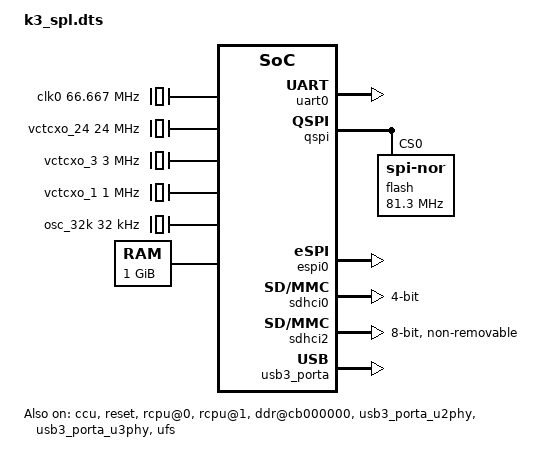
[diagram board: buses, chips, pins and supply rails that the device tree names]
// SPDX-License-Identifier: GPL-2.0
/*
 * K3 FPGA SPL-specific device tree
 * This is a minimal DTS for SPL boot stage only
 *
 * Copyright (C) 2025 SPACEMIT Micro Limited
 */

/dts-v1/;

#include <config.h>
#include "k3-cpus.dtsi"
#include <dt-bindings/reset/reset-spacemit-k3.h>
#include <dt-bindings/clock/spacemit-k3-clock.h>
#include <dt-bindings/pinctrl/k3-pinctrl.h>
#include "secure_boot.dtsi"

/ {
	#address-cells = <2>;
	#size-cells = <2>;
	compatible = "spacemit,k3";

	/* The pins of the SDCard share the same pins
	 * as the JTAG. If you want to use the SDCard
	 * slot for JTAG connection and debugging,
	 * enable this bool property.
	 */
	//spacemit,enable-debug-jtag;

	chosen {
		stdout-path = "uart0:115200";
	};

	SECURE_BOOT_SIGNATURE_NODE

	aliases {
		console = &uart0;
		mmc0 = &sdhci0;
		mmc2 = &sdhci2;
	};

	clocks {
		clk0: osc {
			compatible = "fixed-clock";
			#clock-cells = <0>;
			clock-frequency = <66667000>;
		};
		vctcxo_24: vctcxo_24 {
			u-boot,dm-spl;
			#clock-cells = <0>;
			compatible = "fixed-clock";
			clock-frequency = <24000000>;
			clock-output-names = "vctcxo_24";
		};
		vctcxo_3: vctcxo_3 {
			u-boot,dm-spl;
			#clock-cells = <0>;
			compatible = "fixed-clock";
			clock-frequency = <3000000>;
			clock-output-names = "vctcxo_3";
		};
		vctcxo_1: vctcxo_1 {
			u-boot,dm-spl;
			#clock-cells = <0>;
			compatible = "fixed-clock";
			clock-frequency = <1000000>;
			clock-output-names = "vctcxo_1";
		};
		pll1_vco: pll1_vco {
			u-boot,dm-spl;
			#clock-cells = <0>;
			compatible = "fixed-clock";
			clock-frequency = <24576000>;
			clock-output-names = "pll1_vco";
		};
		osc_32k: osc_32k {
			u-boot,dm-spl;
			#clock-cells = <0>;
			compatible = "fixed-clock";
			clock-frequency = <32000>;
			clock-output-names = "osc_32k";
		};
		clk_dummy: clk_dummy {
			u-boot,dm-spl;
			#clock-cells = <0>;
			compatible = "fixed-clock";
			clock-frequency = <0>;
			clock-output-names = "clk_dummy";
		};
	};

	memory@120000000 {
		u-boot,dm-spl;
		device_type = "memory";
		reg = <0x1 0x20000000 0x0 0x40000000>;
	};

	soc {
		u-boot,dm-spl;
		#address-cells = <2>;
		#size-cells = <2>;
		compatible = "simple-bus";
		ranges;

		ccu: clock-controller@d4050000 {
			u-boot,dm-spl;
			compatible = "spacemit,k3-ccu";
			reg = <0x0 0xd4050000 0x0 0x209c>,
				<0x0 0xd4282800 0x0 0x400>,
				<0x0 0xd4015000 0x0 0x1000>,
				<0x0 0xd4090000 0x0 0x1000>,
				<0x0 0xd4282c00 0x0 0x400>,
				<0x0 0xd8440000 0x0 0x98>,
				<0x0 0xc0000000 0x0 0x4280>,
				<0x0 0xf0610000 0x0 0x20>,
				<0x0 0xc0880000 0x0 0xd100>;
			reg-names = "mpmu", "apmu", "apbc", "apbs", "ciu", "dciu", "ddrc", "apbc2", "rcpu";
			clocks = <&vctcxo_24>, <&vctcxo_3>, <&vctcxo_1>, <&pll1_vco>,
				<&osc_32k>, <&clk_dummy>;
			clock-names = "vctcxo_24", "vctcxo_3", "vctcxo_1", "pll1_vco",
				"osc_32k", "clk_dummy";
			#clock-cells = <1>;
			status = "okay";
		};

		reset: reset-controller@d4050000 {
			u-boot,dm-spl;
			compatible = "spacemit,k3-reset";
			reg = <0x0 0xd4050000 0x0 0x209c>,
				<0x0 0xd4282800 0x0 0x400>,
				<0x0 0xd4015000 0x0 0x1000>,
				<0x0 0xd4090000 0x0 0x1000>,
				<0x0 0xd4282c00 0x0 0x400>,
				<0x0 0xd8440000 0x0 0x98>,
				<0x0 0xc0000000 0x0 0x4280>,
				<0x0 0xf0610000 0x0 0x20>,
				<0x0 0xc0880000 0x0 0xd100>;
			reg-names = "mpmu", "apmu", "apbc", "apbs", "ciu", "dciu", "ddrc", "apbc2", "rcpu";
			#reset-cells = <1>;
			status = "okay";
		};

		pinctrl: pinctrl@d401e000 {
			u-boot,dm-spl;
			compatible = "pinctrl-single";
			reg = <0x0 0xd401e000 0x0 0x400>;
			#address-cells = <1>;
			#size-cells = <1>;
			#pinctrl-cells = <2>;
			#gpio-range-cells = <3>;
			pinctrl-single,register-width = <32>;
			pinctrl-single,function-mask = <0xff77>;

			range: gpio-range {
				#pinctrl-single,gpio-range-cells = <3>;
			};

			pinctrl_espi0: espi0_grp {
				u-boot,dm-spl;
				power-source = <1800>;
				pinctrl-single,pins = <
					K3_PADCONF(GPIO_91, MUX_MODE4, (EDGE_NONE | PULL_UP | PAD_DS8)) /* espi_d0 */
					K3_PADCONF(GPIO_92, MUX_MODE4, (EDGE_NONE | PULL_UP | PAD_DS8)) /* espi_d1 */
					K3_PADCONF(GPIO_93, MUX_MODE4, (EDGE_NONE | PULL_UP | PAD_DS8)) /* espi_d2 */
					K3_PADCONF(GPIO_94, MUX_MODE4, (EDGE_NONE | PULL_UP | PAD_DS8)) /* espi_d3 */
					K3_PADCONF(GPIO_95, MUX_MODE4, (EDGE_NONE | PULL_UP | PAD_DS8)) /* espi_cs */
					K3_PADCONF(GPIO_96, MUX_MODE4, (EDGE_NONE | PULL_UP | PAD_DS8)) /* espi_clk */
					K3_PADCONF(GPIO_97, MUX_MODE4, (EDGE_NONE | PULL_UP | PAD_DS8)) /* espi_resetn */
					K3_PADCONF(GPIO_98, MUX_MODE4, (EDGE_NONE | PULL_UP | PAD_DS8)) /* espi_alert */
				>;
			};
			pinctrl_qspi: qspi_grp {
				u-boot,dm-spl;
				power-source = <1800>;
				pinctrl-single,pins = <
					K3_PADCONF(QSPI_DAT3, MUX_MODE0, (EDGE_NONE | PULL_DIS | PAD_DS8)) /* qspi_d3 */
					K3_PADCONF(QSPI_DAT2, MUX_MODE0, (EDGE_NONE | PULL_DIS | PAD_DS8)) /* qspi_d2 */
					K3_PADCONF(QSPI_DAT1, MUX_MODE0, (EDGE_NONE | PULL_DIS | PAD_DS8)) /* qspi_d1 */
					K3_PADCONF(QSPI_DAT0, MUX_MODE0, (EDGE_NONE | PULL_DIS | PAD_DS8)) /* qspi_d0 */
					K3_PADCONF(QSPI_CLK, MUX_MODE0, (EDGE_NONE | PULL_DIS | PAD_DS8)) /* qspi_clk */
				>;
			};
			pinctrl_qspi_cs0: qspi_cs0_grp {
				u-boot,dm-spl;
				power-source = <1800>;
				pinctrl-single,pins = <
					K3_PADCONF(QSPI_CS0, MUX_MODE0, (EDGE_NONE | PULL_UP | PAD_DS8)) /* qspi_cs0 */
				>;
			};
			pinctrl_qspi_cs1: qspi_cs1_grp {
				u-boot,dm-spl;
				pinctrl-single,pins = <
					K3_PADCONF(QSPI_CS1, MUX_MODE0, (EDGE_NONE | PULL_UP | PAD_DS8)) /* qspi_cs1 */
				>;
			};
		};

		uart0: uart@d4017000 {
			u-boot,dm-spl;
			compatible = "ns16550";
			reg = <0x00000000 0xD4017000 0x00000000 0x00000100>;
			reg-shift = <2>;
			reg-io-width = <4>;
			clock-frequency = <14745600>;
		};

		rcpu@0 {
			u-boot,dm-spl;
			compatible = "spacemit,k3-rproc";
			reg = <0 0 0 0>;
			remoteproc-name = "rcpu0";
			coreid = <0>;
			mem_heap_start = <0x1 0x500000>;
			mem_heap_size = <0x200000>;
			fw_boot_entry = <0x1 0x200000>;
			status = "okay";
		};

		rcpu@1 {
			u-boot,dm-spl;
			compatible = "spacemit,k3-rproc";
			reg = <0 0 0 0>;
			remoteproc-name = "rcpu1";
			coreid = <1>;
			mem_heap_start = <0x1 0xB00000>;
			mem_heap_size = <0x200000>;
			fw_boot_entry = <0x1 0x800000>;
			status = "okay";
		};

		ddr@cb000000 {
			u-boot,dm-spl;
			compatible = "spacemit,snps-lp45";
			part-number = "MT62F2G32D4DS";
			reg = <0x00000000 0xcb000000 0x00000000 0x00400000>,
			      <0x00000000 0xcc000000 0x00000000 0x00400000>;
			reg-names = "ddrc0", "ddrc1";
			status = "okay";
		};

		qspi: spi@d420c000 {
			u-boot,dm-spl;
			compatible = "spacemit,k3-qspi";
			#address-cells = <1>;
			#size-cells = <0>;
			pinctrl-names = "default";
			pinctrl-0 = <&pinctrl_qspi &pinctrl_qspi_cs0>;
			reg = <0x0 0xd420c000 0x0 0x1000>,
			      <0x0 0xb8000000 0x0 0x4100000>;
			reg-names = "qspi-base", "qspi-mmap";
			qspi-sfa1ad = <0x4000000>;
			qspi-sfa2ad = <0x100000>;
			qspi-sfb1ad = <0x100000>;
			qspi-sfb2ad = <0x100000>;
			qspi-pmuap-reg = <0xd4282860>;
			qspi-mpmu-acgr-reg = <0xd4051024>;
			qspi-ahbread = <0>;
			qspi-freq = <26500000>;
			qspi-id = <4>;
			clocks = <&ccu CLK_QSPI>,
			          <&ccu CLK_QSPI_BUS>;
			clock-names = "qspi_clk", "qspi_bus_clk";
			resets = <&reset RESET_QSPI>,
				<&reset RESET_QSPI_BUS>;
			reset-names = "qspi_reset", "qspi_bus_reset";
			spi-max-frequency = <81300000>;
			status = "okay";

			flash@0 {
				u-boot,dm-spl;
				compatible = "jedec,spi-nor";
				reg = <0>;
				spi-max-frequency = <81300000>;
				m25p,fast-read;
				broken-flash-reset;
				status = "okay";
			};
		};

		espi0: espi@cac8c000 {
			u-boot,dm-spl;
			compatible = "spacemit,k2-espi";
			reg = <0x0 0xcac8c000 0x0 0x1000>;
			#address-cells = <1>;
			#size-cells = <0>;
			pinctrl-names = "default";
			pinctrl-0 = <&pinctrl_espi0>;
			clocks = <&ccu CLK_ESPI_SCLK_SRC>,
				 <&ccu CLK_ESPI_SCLK>,
				 <&ccu CLK_ESPI_MCLK>;
			clock-names = "sclk_src", "sclk", "mclk";
			resets = <&reset RESET_ESPI>;
			reset-names = "espi_reset";
			assigned-clocks = <&ccu CLK_ESPI_SCLK>;
			assigned-clock-parents = <&ccu CLK_ESPI_SCLK_SRC>;

			pr_io_base = <0x86000000>;
			pr-mem-base0 = <0x84000000>;
			pr-mem-base1 = <0xCAC8C000>;

			/* Virtual-wire GPIO mapping configuration */
			/* vw-gpio-mapping = <0 0x80>,             */
			/* 				<1 0x81>,                  */
			/* 				<2 0x82>,                  */
			/* 				<3 0x83>;                  */

			/* eSPI Master configuration */
			operating-frequency = <20>;   /* 20MHz (will negotiate with slave) */
			io-mode = "single";           /* "single", "dual", or "quad" */
			alert-mode = "io1";           /* "pin" or "io1" */
			alert-type = "open-drain";    /* "open-drain" or "push-pull" */

			/* Features */
			crc-enable;                    /* Enable CRC checking */
			response-modifier-enable;      /* Enable response modifier */
			auto-gating-enable;            /* Enable auto clock gating */

			/* Channel support (master capabilities) */
			peripheral-channel-enable;     /* Enable Peripheral channel */
			vwire-channel-enable;          /* Enable Virtual Wire channel */
			oob-channel-enable;            /* Enable OOB channel */
			flash-channel-enable;          /* Enable Flash channel */

			/* Timing configuration */
			watchdog-timeout = <0xFFFF>;   /* Watchdog timeout value */
			status = "okay";
		};

		sdhci0: sdh@d4280000 {
			u-boot,dm-spl;
			compatible = "spacemit,k3-sdhci";
			reg = <0x0 0xd4280000 0x0 0x200>;
			resets = <&reset RESET_SDH_AXI>,
				 <&reset RESET_SDH0>;
			reset-names = "sdh_axi", "sdh0";
			clocks = <&ccu CLK_SDH0>,
				 <&ccu CLK_SDH_AXI>;
			clock-names = "sdh-io", "sdh-core";
			bus-width = <4>;
			broken-cd;
			no-1-8-v;
			cap-sd-highspeed;
			sdh-phy-module = <0>;
			status = "okay";
		};

		sdhci2: sdh@d4281000 {
			compatible = "spacemit,k3-sdhci";
			u-boot,dm-spl;
			reg = <0x0 0xd4281000 0x0 0x200>;
			resets = <&reset RESET_SDH_AXI>,
				 <&reset RESET_SDH2>;
			reset-names = "sdh_axi", "sdh2";
			clocks = <&ccu CLK_SDH2>,
				 <&ccu CLK_SDH_AXI>;
			clock-names = "sdh-io", "sdh-core";
			bus-width = <8>;
			non-removable;
			mmc-hs400-1_8v;
			mmc-hs400-enhanced-strobe;
			sdh-phy-module = <1>;
			status = "okay";
		};

		usb3_porta_u2phy: phy@cad20000 {
			u-boot,dm-spl;
			compatible = "spacemit,usb2-phy";
			reg = <0x0 0xcad20000 0x0 0x200>;
			#phy-cells = <0>;
			status = "okay";
		};

		usb3_porta_u3phy: phy@0cad30000{
			u-boot,dm-spl;
			compatible = "spacemit,k3-usb3-phy";
			reg = <0x0 0xcad30000 0x0 0x200>,
			      <0x0 0xd4282800 0x0 0x114>,
			      <0x0 0xd4090000 0x0 0x200>;
			reg-names = "puphy",
				    "spacemit,syscon-apmu",
				    "spacemit,syscon-apb-spare";
			phy-nums = <1>;
			#phy-cells = <0>;
			status = "okay";
		};

		usb3_porta: usb3@0 {
			u-boot,dm-spl;
			compatible = "spacemit,k3-dwc3";
			#address-cells = <2>;
			#size-cells = <2>;
			resets = <&reset RESET_USB3_PORTA>;
			reset-names = "ctl_rst";
			clocks = <&ccu CLK_USB3_PORTA_BUS>;
			clock-names = "bus";
			ranges;
			status = "okay";

			dwc3@cad00000 {
				reg = <0x0 0xcad00000 0x0 0x10000>;
				dr_mode = "peripheral";
				maximum-speed = "high-speed";
				/* this breaks FPGA usb,
				 * set utmi_wide if running on FPGA */
				phy_type = "utmi";
				snps,dis_enblslpm_quirk;
				snps,dis_u2_susphy_quirk;
				snps,dis_u3_susphy_quirk;
				snps,del_phy_power_chg_quirk;
				snps,dis-tx-ipgap-linecheck-quirk;
				snps,parkmode-disable-ss-quirk;
				phys = <&usb3_porta_u3phy>, <&usb3_porta_u2phy>;
				phy-names = "usb3-phy", "usb2-phy";
				u-boot,dm-spl;
			};
		};

		ufs: ufs@c0e00000 {
			compatible = "spacemit,k3-ufshci";
			reg = <0x0 0xc0e00000 0x0 0x30000>;
			clocks = <&ccu CLK_UFS_ACLK>,
				 <&ccu CLK_UFS_REFCLK>;
			clock-names = "aclk", "refclk";
			resets = <&reset RESET_UFS_ACLK>;
			reset-names = "aclk_reset";
			ref-clk-freq = <19200000>;
			status = "okay";
			u-boot,dm-spl;
		};

		efuse: fuse@f0702800 {
			u-boot,dm-spl;
			compatible = "spacemit,k3-efuse";
			reg = <0x0 0xf0702800 0x0 0x400>;
			resets = <&reset RESET_AES_WTM>;
			reset-names = "aes_reset";
			/*
			clocks = <&ccu CLK_AES_WTM>;
			clock-names = "aes_core_wtm";
			*/
			status = "disabled";
		};

		i2c8: twsi8@d401d800 {
			compatible = "spacemit,i2c";
			reg = <0x0 0xd401d800 0x0 0x38>;
			#address-cells = <1>;
			#size-cells = <0>;
			status = "disabled";
		};
	};
};

&i2c8 {
	clock-frequency = <100000>;
	u-boot,dm-spl;
	status = "disabled";

	spm8821: pmic@41 {
		compatible = "spacemit,spm8821";
		reg = <0x41>;
		bus = <8>;
		u-boot,dm-spl;

		regulators {
			/* buck */
			dcdc_1: DCDC_REG1 {
				regulator-name = "dcdc1";
				regulator-min-microvolt = <500000>;
				regulator-max-microvolt = <3450000>;
				/* regulator-init-microvolt = <1050000>; */
				regulator-boot-on;
				u-boot,dm-spl;
				regulator-state-mem {
					regulator-suspend-microvolt = <650000>;
				};
			};

			dcdc_2: DCDC_REG2 {
				regulator-name = "dcdc2";
				regulator-min-microvolt = <500000>;
				regulator-max-microvolt = <3450000>;
				regulator-state-mem {
					regulator-off-in-suspend;
				};
			};

			dcdc_3: DCDC_REG3 {
				regulator-name = "dcdc3";
				regulator-min-microvolt = <500000>;
				regulator-max-microvolt = <3450000>;
				regulator-boot-on;
				u-boot,dm-spl;
				regulator-state-mem {
					regulator-off-in-suspend;
				};
			};

			dcdc_4: DCDC_REG4 {
				regulator-name = "dcdc4";
				regulator-min-microvolt = <500000>;
				regulator-max-microvolt = <3450000>;
				regulator-state-mem {
					regulator-off-in-suspend;
				};
			};

			dcdc_5: DCDC_REG5 {
				regulator-name = "dcdc5";
				regulator-min-microvolt = <500000>;
				regulator-max-microvolt = <3450000>;
				regulator-state-mem {
					regulator-off-in-suspend;
				};
			};

			dcdc_6: DCDC_REG6 {
				regulator-name = "dcdc6";
				regulator-min-microvolt = <500000>;
				regulator-max-microvolt = <3450000>;
				regulator-state-mem {
					regulator-off-in-suspend;
				};
			};

			/* aldo */
			ldo_1: LDO_REG1 {
				regulator-name = "ldo1";
				regulator-min-microvolt = <500000>;
				regulator-max-microvolt = <3400000>;
				regulator-init-microvolt = <3300000>;
				regulator-boot-on;
				u-boot,dm-spl;
				regulator-state-mem {
					regulator-off-in-suspend;
				};
			};

			ldo_2: LDO_REG2 {
				regulator-name = "ldo2";
				regulator-min-microvolt = <500000>;
				regulator-max-microvolt = <3400000>;
				regulator-state-mem {
					regulator-off-in-suspend;
				};
			};

			ldo_3: LDO_REG3 {
				regulator-name = "ldo3";
				regulator-min-microvolt = <500000>;
				regulator-max-microvolt = <3400000>;
				regulator-state-mem {
					regulator-off-in-suspend;
				};
			};

			ldo_4: LDO_REG4 {
				regulator-name = "ldo4";
				regulator-min-microvolt = <500000>;
				regulator-max-microvolt = <3400000>;
				regulator-state-mem {
					regulator-off-in-suspend;
				};
			};

			/* dldo */
			ldo_5: LDO_REG5 {
				regulator-name = "ldo5";
				regulator-min-microvolt = <500000>;
				regulator-max-microvolt = <3400000>;
				regulator-state-mem {
					regulator-off-in-suspend;
				};
			};

			ldo_6: LDO_REG6 {
				regulator-name = "ldo6";
				regulator-min-microvolt = <500000>;
				regulator-max-microvolt = <3400000>;
				regulator-state-mem {
					regulator-off-in-suspend;
				};
			};

			ldo_7: LDO_REG7 {
				regulator-name = "ldo7";
				regulator-min-microvolt = <500000>;
				regulator-max-microvolt = <3400000>;
				regulator-state-mem {
					regulator-off-in-suspend;
				};
			};

			ldo_8: LDO_REG8 {
				regulator-name = "ldo8";
				regulator-min-microvolt = <500000>;
				regulator-max-microvolt = <3400000>;
				regulator-state-mem {
					regulator-off-in-suspend;
				};
			};

			ldo_9: LDO_REG9 {
				regulator-name = "ldo9";
				regulator-min-microvolt = <500000>;
				regulator-max-microvolt = <3400000>;
				regulator-state-mem {
					regulator-off-in-suspend;
				};
			};

			ldo_10: LDO_REG10 {
				regulator-name = "ldo10";
				regulator-min-microvolt = <500000>;
				regulator-max-microvolt = <3400000>;
				regulator-state-mem {
					regulator-off-in-suspend;
				};
			};

			ldo_11: LDO_REG11 {
				regulator-name = "ldo11";
				regulator-min-microvolt = <500000>;
				regulator-max-microvolt = <3400000>;
				regulator-state-mem {
					regulator-off-in-suspend;
				};
			};

			sw_2: SWITCH_REG1 {
				regulator-name = "switch1";
			};

			power_event: SWITCH_REG2 {
				regulator-name = "pwr-event";
			};

			power_int: SWITCH_REG3 {
				regulator-name = "pwr-int";
			};

			rtc_ctrl: SWITCH_REG4 {
				regulator-name = "rtc-ctrl";
			};

			rtc_event: SWITCH_REG5 {
				regulator-name = "rtc-event";
			};

			rtc_irq: SWITCH_REG6 {
				regulator-name = "rtc-irq";
			};

			power_down: SWITCH_REG7 {
				regulator-name = "power-down";
			};

			reboot_flag: SWITCH_REG8 {
				regulator-name = "reboot-flag";
			};

			wdt_pm8821: PMIC_WDT {
				wdt-name = "wdt_pm8821";
			};
		};
	};

	mpq8655: mpq8655@30 {
		compatible = "spacemit,mpq8655";
		reg = <0x30>;
		bus = <8>;
		u-boot,dm-spl;

		regulators {
			u-boot,dm-spl;

			edcdc_1: EDCDC_REG1 {
				regulator-name = "edcdc1";
				regulator-min-microvolt = <534000>;
				regulator-max-microvolt = <880000>;
				regulator-init-microvolt = <880000>;
				regulator-boot-on;
				u-boot,dm-spl;
				regulator-state-mem {
					regulator-off-in-suspend;
				};
			};
		};
	};

	tda38740_1: tda38740@42 {
		compatible = "spacemit,tda38740-1";
		reg = <0x42>;
		bus = <8>;
		u-boot,dm-spl;

		regulators {
			u-boot,dm-spl;

			tda38740_tdcdc_1: TDCDC_REG1 {
				regulator-name = "tdcdc1";
				regulator-min-microvolt = <534000>;
				regulator-max-microvolt = <1000000>;
				regulator-init-microvolt = <950000>;
				regulator-boot-on;
				u-boot,dm-spl;
				regulator-state-mem {
					regulator-off-in-suspend;
				};
			};
		};
	};

	tda38740_2: tda38740@4f {
		compatible = "spacemit,tda38740-2";
		reg = <0x4f>;
		bus = <8>;
		u-boot,dm-spl;

		regulators {
			u-boot,dm-spl;

			tda38740_tdcdc_2: TDCDC_REG2 {
				regulator-name = "tdcdc2";
				regulator-min-microvolt = <534000>;
				regulator-max-microvolt = <1000000>;
				regulator-init-microvolt = <950000>;
				regulator-boot-on;
				u-boot,dm-spl;
				regulator-state-mem {
					regulator-off-in-suspend;
				};
			};
		};
	};

	is6615a_1: is6615a@42 {
		compatible = "spacemit,is6615a-1";
		reg = <0x42>;
		bus = <8>;
		u-boot,dm-spl;

		regulators {
			u-boot,dm-spl;

			is6615a_edcdc_1: IDCDC_REG1 {
				regulator-name = "idcdc1";
				regulator-min-microvolt = <534000>;
				regulator-max-microvolt = <1000000>;
				regulator-init-microvolt = <950000>;
				regulator-boot-on;
				u-boot,dm-spl;
				regulator-state-mem {
					regulator-off-in-suspend;
				};
			};
		};
	};

	is6615a_2: is6615a@4f {
		compatible = "spacemit,is6615a-2";
		reg = <0x4f>;
		bus = <8>;
		u-boot,dm-spl;

		regulators {
			u-boot,dm-spl;

			is6615a_idcdc_2: IDCDC_REG2 {
				regulator-name = "idcdc2";
				regulator-min-microvolt = <534000>;
				regulator-max-microvolt = <1000000>;
				regulator-init-microvolt = <950000>;
				regulator-boot-on;
				u-boot,dm-spl;
				regulator-state-mem {
					regulator-off-in-suspend;
				};
			};
		};
	};

	au4562: au4562@75 {
		compatible = "spacemit,au4562";
		reg = <0x75>;
		bus = <8>;
		u-boot,dm-spl;

		regulators {
			u-boot,dm-spl;

			au4562_adcdc_1: ADCDC_REG1 {
				regulator-name = "adcdc1";
				regulator-min-microvolt = <540000>;
				regulator-max-microvolt = <1000000>;
				regulator-init-microvolt = <950000>;
				regulator-boot-on;
				u-boot,dm-spl;
				regulator-state-mem {
					regulator-off-in-suspend;
				};
			};

			au4562_adcdc_2: ADCDC_REG2 {
				regulator-name = "adcdc2";
				regulator-min-microvolt = <540000>;
				regulator-max-microvolt = <1000000>;
				regulator-init-microvolt = <950000>;
				regulator-boot-on;
				u-boot,dm-spl;
				regulator-state-mem {
					regulator-off-in-suspend;
				};
			};
		};
	};
};

&cpus {
	timebase-frequency = <24000000>;
	clocks = <&ccu CLK_TOP_DCLK>,
		 <&ccu CLK_AXICLK>,
		 <&ccu CLK_CCI550>,
		 <&ccu CLK_CPU_C0_CORE>,
		 <&ccu CLK_CPU_C1_CORE>,
		 <&ccu CLK_CPU_C2_CORE>,
		 <&ccu CLK_CPU_C3_CORE>,
		 <&ccu CLK_PLL3>,
		 <&ccu CLK_PLL4>,
		 <&ccu CLK_PLL5>,
		 <&ccu CLK_PLL8>,
		 <&ccu CLK_PLL3_D1>,
		 <&ccu CLK_CPU_C1_PLL_SRC>,
		 <&ccu CLK_PLL5_D1>,
		 <&ccu CLK_CPU_C3_PLL_SRC>;
	clock-names = "topd", "axi", "cci", "cluster0", "cluster1", "cluster2", "cluster3",
		       "pll3", "pll4", "pll5", "pll8", "pll_src3", "clt1_pll_src", "pll_src5", "clt3_pll_src";
	topd_frequency = <800000000>;
	axi_frequency =  <307000000>;
	cci_frequency =  <1228000000>;
	cluster0_frequency = <2200000000>;
	cluster1_frequency = <2200000000>;
	cluster2_frequency = <1800000000>;
	cluster3_frequency = <1800000000>;
};
